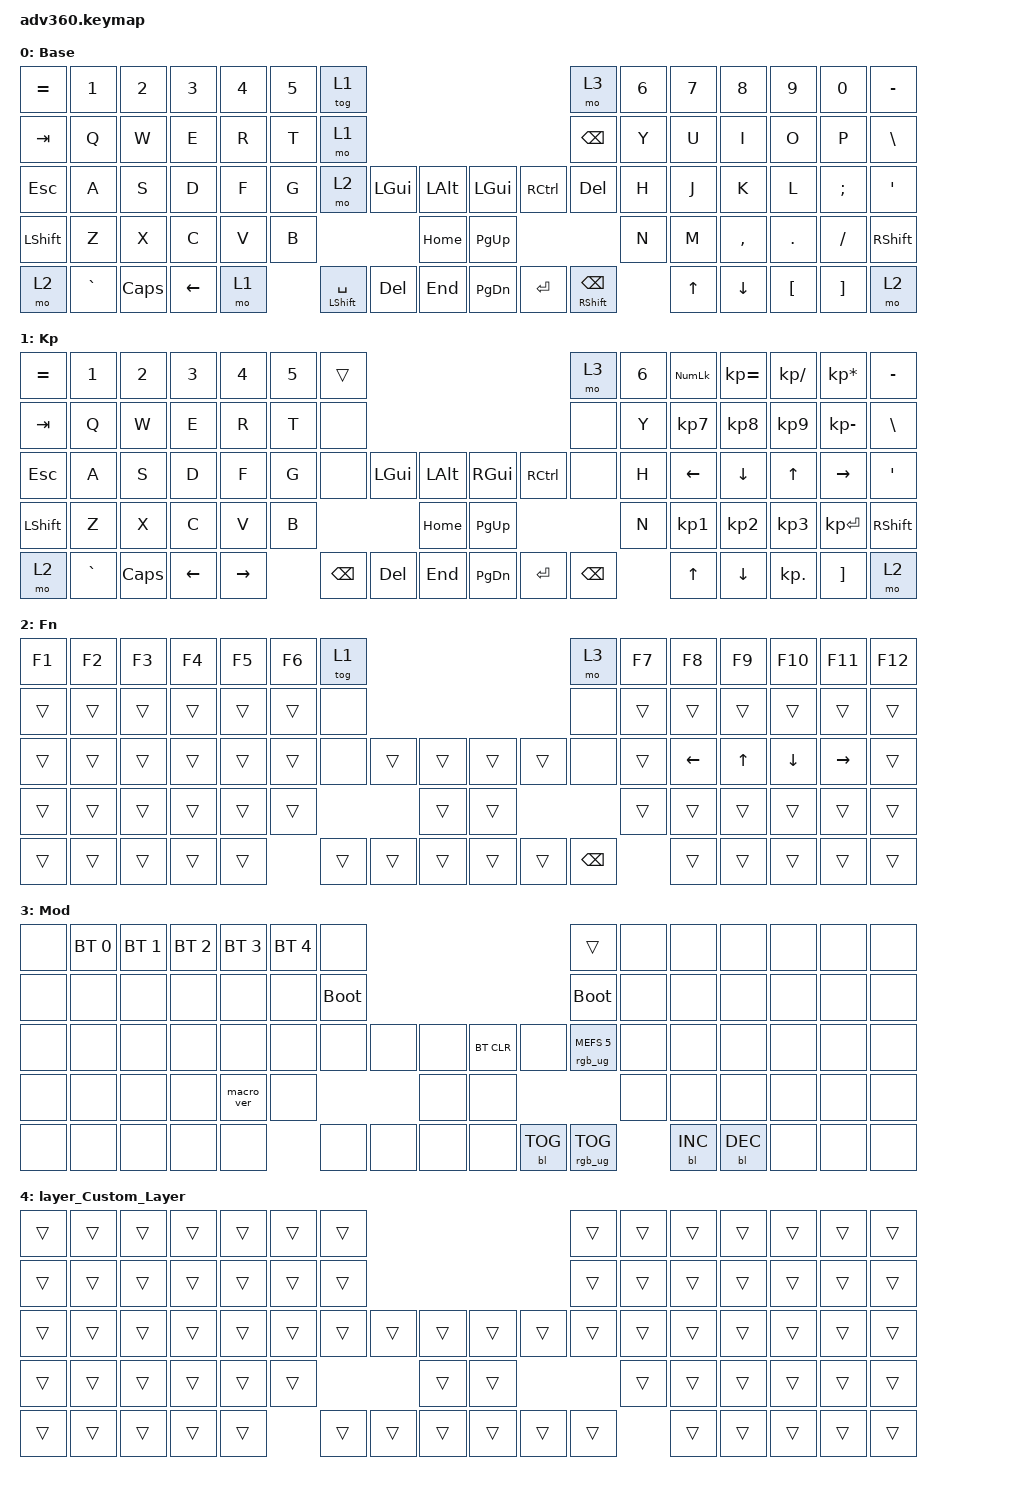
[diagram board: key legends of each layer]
#include <behaviors.dtsi>
#include <dt-bindings/zmk/keys.h>
#include <dt-bindings/zmk/bt.h>
#include <dt-bindings/zmk/rgb.h>
#include <dt-bindings/zmk/stp.h>
#include <dt-bindings/zmk/backlight.h>
#include <dt-bindings/zmk/pointing.h>

/ {
    behaviors {
      #include "macros.dtsi"
      #include "version.dtsi"

        hm: homerow_mods {
            compatible = "zmk,behavior-hold-tap";
            label = "HOMEROW_MODS";
            #binding-cells = <2>;
            tapping-term-ms = <200>;
            quick_tap_ms = <175>;
            flavor = "tap-preferred";
            bindings = <&kp>, <&kp>;
        };

        hold: hold {
            compatible = "zmk,behavior-hold-tap";
            label = "HOLD";
            bindings = <&kp>, <&kp>;

            #binding-cells = <2>;
            hold-trigger-key-positions = <65>;
            flavor = "tap-preferred";
            tapping-term-ms = <200>;
        };
    };

    keymap {
        compatible = "zmk,keymap";

        default_layer {
            display-name = "Base";
            bindings = <
&kp EQUAL  &kp N1     &kp N2    &kp N3    &kp N4  &kp N5  &tog 1                                                                &mo 3                        &kp N6  &kp N7  &kp N8     &kp N9    &kp N0    &kp MINUS
&kp TAB    &kp Q      &kp W     &kp E     &kp R   &kp T   &mo 1                                                                 &kp BSPC                     &kp Y   &kp U   &kp I      &kp O     &kp P     &kp BSLH
&kp ESC    &kp A      &kp S     &kp D     &kp F   &kp G   &mo 2                   &kp LGUI  &kp LALT      &kp LGUI   &kp RCTRL  &kp DELETE                   &kp H   &kp J   &kp K      &kp L     &kp SEMI  &kp SQT
&kp LSHFT  &kp Z      &kp X     &kp C     &kp V   &kp B                                     &kp HOME      &kp PG_UP                                          &kp N   &kp M   &kp COMMA  &kp DOT   &kp FSLH  &kp RSHFT
&mo 2      &kp GRAVE  &kp CAPS  &kp LEFT  &mo 1           &hold LEFT_SHIFT SPACE  &kp DEL   &kp END       &kp PG_DN  &kp ENTER  &hold RIGHT_SHIFT BACKSPACE          &kp UP  &kp DOWN   &kp LBKT  &kp RBKT  &mo 2
            >;
        };

        layer_keypad {
            display-name = "Kp";
            bindings = <
&kp EQUAL  &kp N1     &kp N2    &kp N3    &kp N4     &kp N5  &trans                                                  &mo 3     &kp N6  &kp KP_NUM  &kp KP_EQUAL  &kp KP_DIVIDE  &kp KP_MULTIPLY  &kp MINUS
&kp TAB    &kp Q      &kp W     &kp E     &kp R      &kp T   &none                                                   &none     &kp Y   &kp KP_N7   &kp KP_N8     &kp KP_N9      &kp KP_MINUS     &kp BSLH
&kp ESC    &kp A      &kp S     &kp D     &kp F      &kp G   &none     &kp LGUI  &kp LALT      &kp RGUI   &kp RCTRL  &none     &kp H   &kp LEFT    &kp DOWN      &kp UP         &kp RIGHT        &kp SQT
&kp LSHFT  &kp Z      &kp X     &kp C     &kp V      &kp B                       &kp HOME      &kp PG_UP                       &kp N   &kp KP_N1   &kp KP_N2     &kp KP_N3      &kp KP_ENTER     &kp RSHFT
&mo 2      &kp GRAVE  &kp CAPS  &kp LEFT  &kp RIGHT          &kp BSPC  &kp DEL   &kp END       &kp PG_DN  &kp ENTER  &kp BSPC          &kp UP      &kp DOWN      &kp KP_DOT     &kp RBKT         &mo 2
            >;
        };

        layer_fn {
            display-name = "Fn";
            bindings = <
&kp F1  &kp F2  &kp F3  &kp F4  &kp F5  &kp F6  &tog 1                                      &mo 3     &kp F7  &kp F8          &kp F9        &kp F10         &kp F11          &kp F12
&trans  &trans  &trans  &trans  &trans  &trans  &none                                       &none     &trans  &trans          &trans        &trans          &trans           &trans
&trans  &trans  &trans  &trans  &trans  &trans  &none   &trans  &trans      &trans  &trans  &none     &trans  &kp LEFT_ARROW  &kp UP_ARROW  &kp DOWN_ARROW  &kp RIGHT_ARROW  &trans
&trans  &trans  &trans  &trans  &trans  &trans                  &trans      &trans                    &trans  &trans          &trans        &trans          &trans           &trans
&trans  &trans  &trans  &trans  &trans          &trans  &trans  &trans      &trans  &trans  &kp BSPC          &trans          &trans        &trans          &trans           &trans
            >;
        };

        layer_mod {
            display-name = "Mod";
            bindings = <
&none  &bt BT_SEL 0  &bt BT_SEL 1  &bt BT_SEL 2  &bt BT_SEL 3  &bt BT_SEL 4  &none                                                  &trans                  &none  &none       &none       &none  &none  &none
&none  &none         &none         &none         &none         &none         &bootloader                                            &bootloader             &none  &none       &none       &none  &none  &none
&none  &none         &none         &none         &none         &none         &none        &none  &none      &bt BT_CLR  &none       &rgb_ug RGB_MEFS_CMD 5  &none  &none       &none       &none  &none  &none
&none  &none         &none         &none         &macro_ver    &none                             &none      &none                                           &none  &none       &none       &none  &none  &none
&none  &none         &none         &none         &none                       &none        &none  &none      &none       &bl BL_TOG  &rgb_ug RGB_TOG                &bl BL_INC  &bl BL_DEC  &none  &none  &none
            >;
        };

        layer_Custom_Layer {
            bindings = <
&trans  &trans  &trans  &trans  &trans  &trans  &trans                                      &trans  &trans  &trans  &trans  &trans  &trans  &trans
&trans  &trans  &trans  &trans  &trans  &trans  &trans                                      &trans  &trans  &trans  &trans  &trans  &trans  &trans
&trans  &trans  &trans  &trans  &trans  &trans  &trans  &trans  &trans      &trans  &trans  &trans  &trans  &trans  &trans  &trans  &trans  &trans
&trans  &trans  &trans  &trans  &trans  &trans                  &trans      &trans                  &trans  &trans  &trans  &trans  &trans  &trans
&trans  &trans  &trans  &trans  &trans          &trans  &trans  &trans      &trans  &trans  &trans          &trans  &trans  &trans  &trans  &trans
            >;
        };
        extra1 {
          display-name = "Red";
          status = "reserved";
        };

        extra2 {
          display-name = "Purple";
          status = "reserved";
        };

        extra3 {
          display-name = "Cyan";
          status = "reserved";
        };

        extra4 {
          display-name = "Yellow";
          status = "reserved";
        };
    };
};

